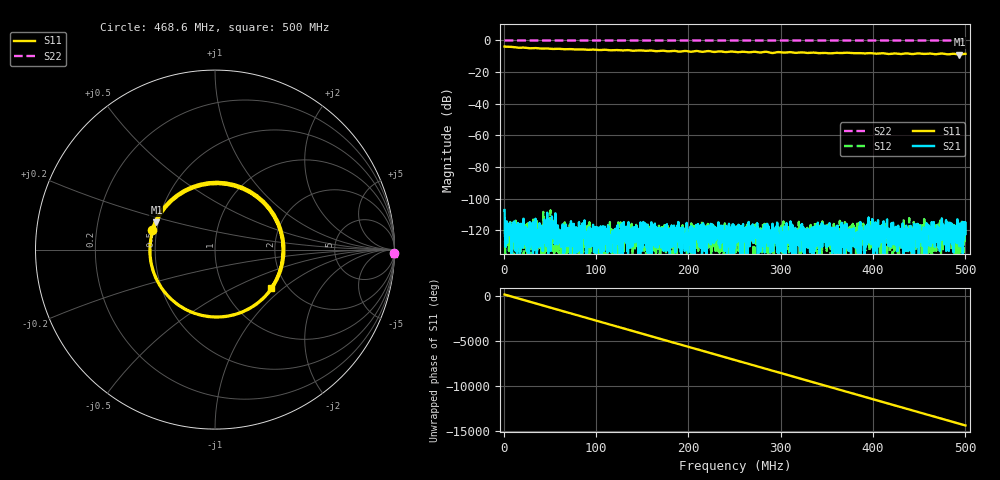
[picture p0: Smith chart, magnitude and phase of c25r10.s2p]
! MS46122B
! 1746301/73750021
! 11/3/2023 2:31:09 PM
! C:\USERS\SPEGWAL\DOWNLOADS\SAURABH\REACH\NODES\FRONT END\MEASUREMENTS\MEASURED S-PARAMETERS_03-11-2023\MS3-MS4_MS1_CABLE\10OHMS_SOURCE_S11.S2P
! CHANNEL.1
! TR.MEASUREMENT
! CORRECTED.DATA
# GHZ S RI R 50.0
! FREQ.GHZ  S11RE  S11IM  S21RE  S21IM  S12RE  S12IM  S22RE  S22IM
!; PortSelection: Port_12
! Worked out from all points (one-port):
!   2001 points, 1 MHz to 500 MHz, reference 50 ohm
!   lowest |S11| = -8.9 dB at 493.5 MHz (marker M1), VSWR 2.12, Z = 24.4 + j8.5 ohm
!   |S11| at or under -10 dB: nowhere
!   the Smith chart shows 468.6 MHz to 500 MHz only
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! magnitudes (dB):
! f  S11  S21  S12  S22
! 1 MHz  -3.8  -107.2  -118.7  0.0
! 28.2 MHz  -4.9  -121.4  -116.9  0.0
! 84.33 MHz  -5.6  -140.0  -128.9  0.0
! 167.4 MHz  -6.7  -127.7  -119.3  0.0
! 209.1 MHz  -6.6  -117.5  -120.0  0.0
! 215.3 MHz  -7.2  -127.7  -122.8  0.0
! 221.6 MHz  -6.7  -124.7  -116.3  0.0
! 250.5 MHz  -7.2  -130.5  -133.0  0.0
! 277.7 MHz  -7.6  -130.5  -120.5  0.0
! 283.9 MHz  -7.1  -116.7  -121.4  0.0
! 290.9 MHz  -7.9  -120.5  -134.0  0.0
! 297.7 MHz  -7.3  -123.5  -118.0  0.0
! 333.8 MHz  -7.7  -131.0  -127.7  0.0
! 353.5 MHz  -8.1  -124.7  -121.4  0.0
! 371.8 MHz  -7.7  -124.3  -120.0  0.0
! 410.2 MHz  -8.1  -127.7  -124.9  0.0
! 416.9 MHz  -8.5  -130.0  -128.0  0.0
! 449.4 MHz  -8.2  -130.5  -130.0  0.0
! 468.1 MHz  -8.7  -122.8  -116.9  0.0
! 474.3 MHz  -8.2  -117.5  -118.0  0.0
! 493.5 MHz  -8.9  -130.0  -133.0  0.0
! 500 MHz  -8.5  -122.1  -122.8  0.0
